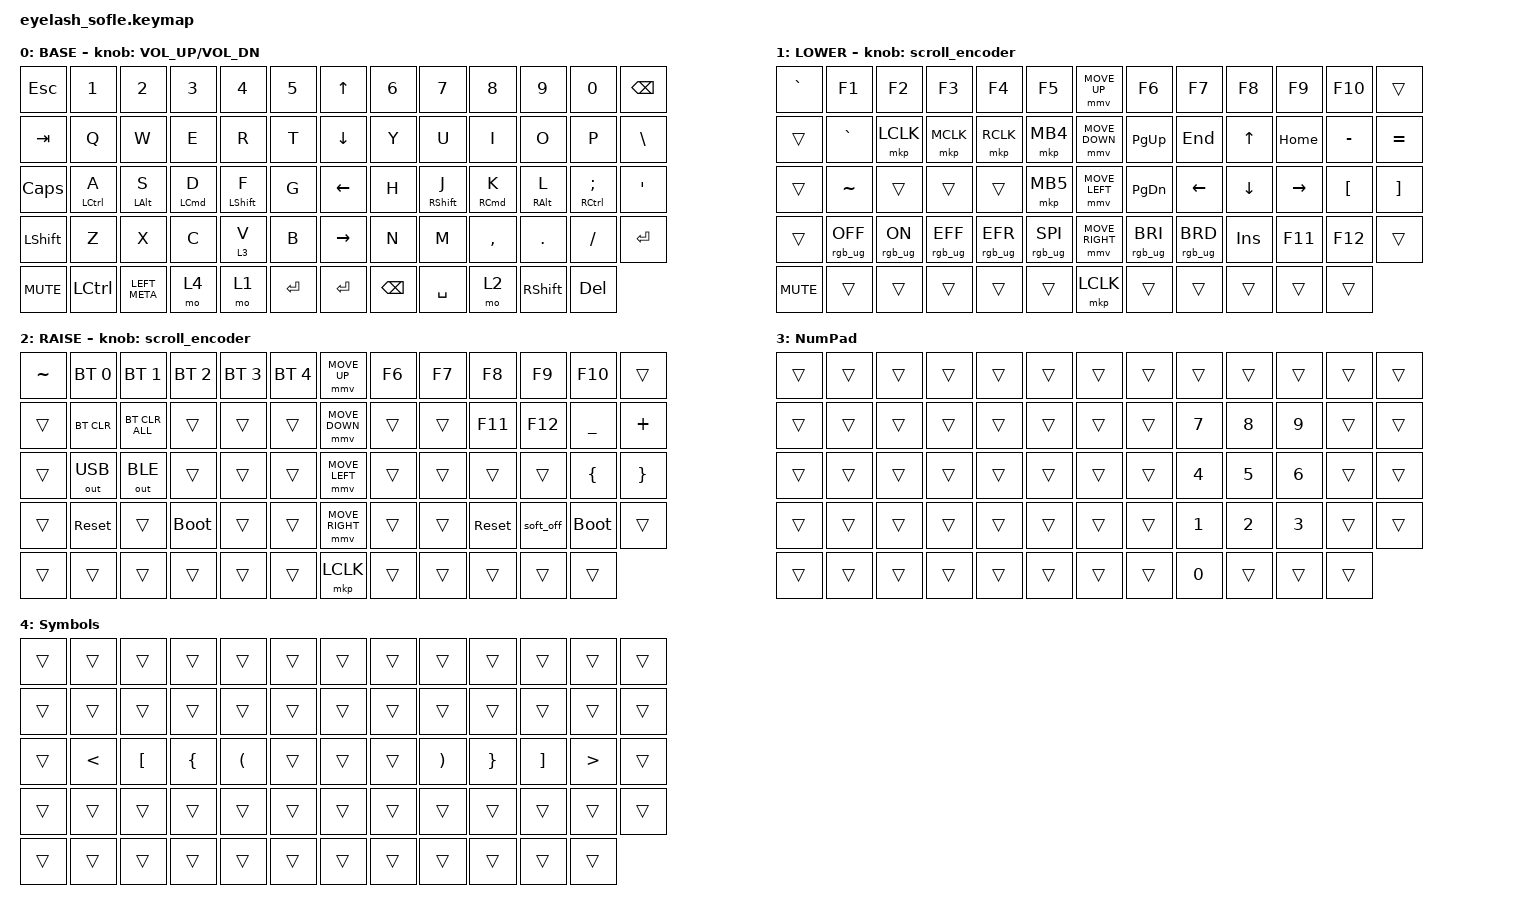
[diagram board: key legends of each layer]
#define ZMK_POINTING_DEFAULT_MOVE_VAL 1200  // 600
#define ZMK_POINTING_DEFAULT_SCRL_VAL 25   // 10

#include <input/processors.dtsi>
#include <zephyr/dt-bindings/input/input-event-codes.h>
#include "keys_de.h"
#include <behaviors.dtsi>
#include <dt-bindings/zmk/bt.h>
#include <dt-bindings/zmk/keys.h>
#include <dt-bindings/zmk/outputs.h>
#include <dt-bindings/zmk/pointing.h>
#include <dt-bindings/zmk/rgb.h>

&mmv_input_listener { input-processors = <&zip_xy_scaler 2 1>; };

&msc_input_listener { input-processors = <&zip_scroll_scaler 2 1>; };

&msc {
    acceleration-exponent = <1>;      // 0
    time-to-max-speed-ms = <100>;       // 300
    delay-ms = <0>;                   // 0
};

&mmv {
    time-to-max-speed-ms = <500>;
    acceleration-exponent = <1>;
    trigger-period-ms = <16>;
};

/ {
    scroll_encoder: scroll_encoder {
        compatible = "zmk,behavior-sensor-rotate";
        #sensor-binding-cells = <0>;
        bindings = <&msc SCRL_DOWN>, <&msc SCRL_UP>;

        tap-ms = <100>;
    };

    hrm: hrm {
        compatible = "zmk,behavior-hold-tap";
        label = "HOME ROW MOD";
        bindings = <&kp>, <&kp>;

        #binding-cells = <2>;
        tapping-term-ms = <280>;
        flavor = "tap-preferred";
        hold-trigger-on-release;
        require-prior-idle-ms = <125>;
        quick-tap-ms = <175>;
    };

    behaviors {
    };

    keymap {
        compatible = "zmk,keymap";

        layer_0 {
            bindings = <
&kp ESC       &kp N1               &kp N2           &kp N3               &kp N4             &kp N5       &kp UP_ARROW     &kp N6         &kp N7              &kp N8                &kp N9            &kp N0                   &kp BACKSPACE
&kp TAB       &kp Q                &kp W            &kp E                &kp R              &kp T        &kp DOWN_ARROW   &kp Y          &kp U               &kp I                 &kp O             &kp P                    &kp BSLH
&kp CAPSLOCK  &hrm LEFT_CONTROL A  &hrm LEFT_ALT S  &hrm LEFT_COMMAND D  &hrm LEFT_SHIFT F  &kp G        &kp LEFT_ARROW   &kp H          &hrm RIGHT_SHIFT J  &hrm RIGHT_COMMAND K  &hrm RIGHT_ALT L  &hrm RIGHT_CONTROL SEMI  &kp APOS
&kp LSHFT     &kp Z                &kp X            &kp C                &lt 3 V            &kp B        &kp RIGHT_ARROW  &kp N          &kp M               &kp COMMA             &kp DOT           &kp FSLH                 &kp ENTER
&kp C_MUTE    &kp LCTRL            &kp LEFT_META    &mo 4                &mo 1              &kp ENTER    &kp ENTER        &kp BACKSPACE  &kp SPACE           &mo 2                 &kp RIGHT_SHIFT   &kp DELETE
            >;

            sensor-bindings = <&inc_dec_kp C_VOLUME_UP C_VOL_DN>;
            display-name = "BASE";
        };

        layer_1 {
            bindings = <
&kp GRAVE   &kp F1           &kp F2          &kp F3           &kp F4           &kp F5             &mmv MOVE_UP     &kp F6           &kp F7           &kp F8      &kp F9     &kp F10           &trans
&trans      &kp GRAVE        &mkp LCLK       &mkp MCLK        &mkp RCLK        &mkp MB4           &mmv MOVE_DOWN   &kp PG_UP        &kp END          &kp UP      &kp HOME   &kp MINUS         &kp EQUAL
&trans      &kp TILDE        &trans          &trans           &trans           &mkp MB5           &mmv MOVE_LEFT   &kp PG_DN        &kp LEFT         &kp DOWN    &kp RIGHT  &kp LEFT_BRACKET  &kp RIGHT_BRACKET
&trans      &rgb_ug RGB_OFF  &rgb_ug RGB_ON  &rgb_ug RGB_EFF  &rgb_ug RGB_EFR  &rgb_ug RGB_SPI    &mmv MOVE_RIGHT  &rgb_ug RGB_BRI  &rgb_ug RGB_BRD  &kp INSERT  &kp F11    &kp F12           &trans
&kp C_MUTE  &trans           &trans          &trans           &trans           &trans             &mkp LCLK        &trans           &trans           &trans      &trans     &trans
            >;

            display-name = "LOWER";
            sensor-bindings = <&scroll_encoder>;
        };

        layer_2 {
            bindings = <
&kp TILDE  &bt BT_SEL 0  &bt BT_SEL 1    &bt BT_SEL 2  &bt BT_SEL 3  &bt BT_SEL 4    &mmv MOVE_UP     &kp F6  &kp F7  &kp F8      &kp F9     &kp F10      &trans
&trans     &bt BT_CLR    &bt BT_CLR_ALL  &trans        &trans        &trans          &mmv MOVE_DOWN   &trans  &trans  &kp F11     &kp F12    &kp UNDER    &kp PLUS
&trans     &out OUT_USB  &out OUT_BLE    &trans        &trans        &trans          &mmv MOVE_LEFT   &trans  &trans  &trans      &trans     &kp LBRC     &kp RBRC
&trans     &sys_reset    &trans          &bootloader   &trans        &trans          &mmv MOVE_RIGHT  &trans  &trans  &sys_reset  &soft_off  &bootloader  &trans
&trans     &trans        &trans          &trans        &trans        &trans          &mkp LCLK        &trans  &trans  &trans      &trans     &trans
            >;

            sensor-bindings = <&scroll_encoder>;
            label = "RAISE";
        };

        layer_3 {
            bindings = <
&trans  &trans  &trans  &trans  &trans  &trans    &trans  &trans  &trans  &trans  &trans  &trans  &trans
&trans  &trans  &trans  &trans  &trans  &trans    &trans  &trans  &kp N7  &kp N8  &kp N9  &trans  &trans
&trans  &trans  &trans  &trans  &trans  &trans    &trans  &trans  &kp N4  &kp N5  &kp N6  &trans  &trans
&trans  &trans  &trans  &trans  &trans  &trans    &trans  &trans  &kp N1  &kp N2  &kp N3  &trans  &trans
&trans  &trans  &trans  &trans  &trans  &trans    &trans  &trans  &kp N0  &trans  &trans  &trans
            >;

            label = "NumPad";
        };

        layer_4 {
            bindings = <
&trans  &trans         &trans            &trans          &trans                &trans    &trans  &trans  &trans                 &trans           &trans             &trans            &trans
&trans  &trans         &trans            &trans          &trans                &trans    &trans  &trans  &trans                 &trans           &trans             &trans            &trans
&trans  &kp LESS_THAN  &kp LEFT_BRACKET  &kp LEFT_BRACE  &kp LEFT_PARENTHESIS  &trans    &trans  &trans  &kp RIGHT_PARENTHESIS  &kp RIGHT_BRACE  &kp RIGHT_BRACKET  &kp GREATER_THAN  &trans
&trans  &trans         &trans            &trans          &trans                &trans    &trans  &trans  &trans                 &trans           &trans             &trans            &trans
&trans  &trans         &trans            &trans          &trans                &trans    &trans  &trans  &trans                 &trans           &trans             &trans
            >;

            label = "Symbols";
        };
    };
};
